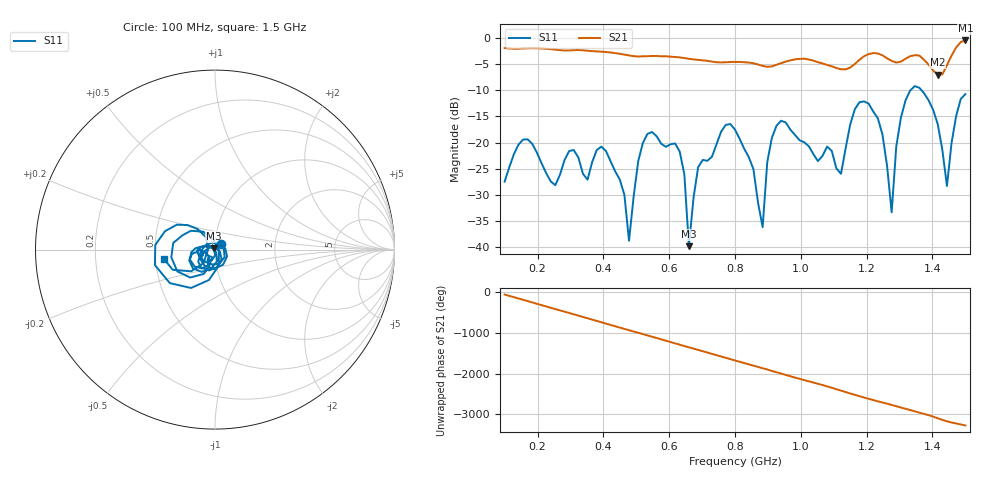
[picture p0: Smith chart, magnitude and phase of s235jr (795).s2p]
! NanoVNA-App
! Date: 2025-09-25 15:10:21
! Start: 100MHz Stop: 1,5GHz Points: 101
! S-Parameter data: F S11 S21 S12 S22
# Hz S RI R 50
!  Frequency  S11_Real  S11_Imag  S21_Real  S21_Imag  S12_Real  S12_Imag  S22_Real  S22_Imag
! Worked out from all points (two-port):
!   101 points, 100 MHz to 1.5 GHz, reference 50 ohm
!   highest |S21| = -0.51 dB at 1.5 GHz (marker M1); lowest = -7.0 dB at 1.416 GHz (marker M2)
!   |S21| within 3 dB of the highest: start of sweep to 491.9 MHz; 1.192 GHz to 1.252 GHz (59.51 MHz wide, 4.87 % of centre) (the widest 2 of 5)
!   lowest |S11| = -39.8 dB at 660 MHz (marker M3), VSWR 1.02, Z = 49.2 + j0.62 ohm
!   |S11| at or under -10 dB: start of sweep to 1.333 GHz; 1.366 GHz to end of sweep
!   S12 and S22 are empty: the file has one direction only
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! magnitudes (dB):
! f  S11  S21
! 100 MHz  -27.5  -2.0
! 156 MHz  -19.4  -2.0
! 338 MHz  -26.0  -2.4
! 408 MHz  -21.6  -2.7
! 478 MHz  -38.7  -3.4
! 520 MHz  -20.1  -3.5
! 576 MHz  -20.2  -3.5
! 632 MHz  -21.7  -3.7
! 660 MHz  -39.8  -4.0
! 688 MHz  -24.7  -4.2
! 800 MHz  -17.5  -4.6
! 884 MHz  -36.1  -5.4
! 926 MHz  -16.8  -5.2
! 1.038 GHz  -22.2  -4.4
! 1.122 GHz  -26.0  -6.0
! 1.206 GHz  -12.6  -3.1
! 1.276 GHz  -33.3  -4.4
! 1.29 GHz  -20.8  -4.7
! 1.332 GHz  -10.1  -3.5
! 1.416 GHz  -16.5  -7.0
! 1.444 GHz  -28.3  -5.2
! 1.5 GHz  -10.7  -0.5
